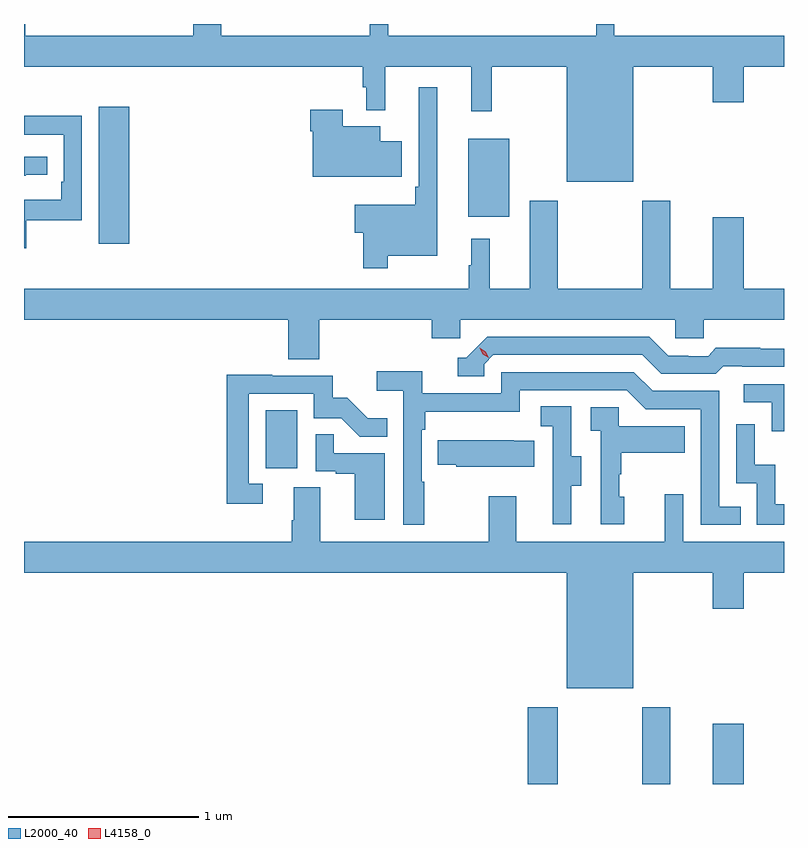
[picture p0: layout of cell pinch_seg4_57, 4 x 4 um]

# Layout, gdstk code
import gdstk
lib = gdstk.Library(unit=1e-6, precision=1e-09)
def R(c, l, rs):  # rectangles x0, y0, x1, y1
    for r in rs: c.add(gdstk.rectangle(r[:2], r[2:], *l))
def P(c, l, *ps):  # polygons
    for p in ps: c.add(gdstk.Polygon(p, *l))
L2000_40 = (2000, 40)
L4158_0 = (4158, 0)

pinch_seg4_57 = lib.new_cell('pinch_seg4_57')
R(pinch_seg4_57, L2000_40, [(1027.169,821.017,1027.329,821.422), (1027.774,821.017,1027.921,821.422), (1028.144,821.017,1028.308,821.335), (1025.792,822.678,1025.956,822.985), (1024.913,823.86,1025.074,824.581), (1026.857,824.003,1027.072,824.413)])
P(pinch_seg4_57, L2000_40, [(1027.726,824.792),(1028.144,824.792),(1028.144,824.604),(1028.308,824.604),(1028.308,824.792),(1028.519,824.792),(1028.519,824.956),(1027.626,824.956),(1027.626,825.017),(1027.53,825.017),(1027.53,824.956),(1026.435,824.956),(1026.435,825.017),(1026.338,825.017),(1026.338,824.956),(1025.557,824.956),(1025.557,825.017),(1025.41,825.017),(1025.41,824.956),(1024.525,824.956),(1024.525,825.017),(1024.519,825.017),(1024.519,824.792),(1026.301,824.792),(1026.301,824.685),(1026.321,824.685),(1026.321,824.564),(1026.419,824.564),(1026.419,824.792),(1026.872,824.792),(1026.872,824.559),(1026.982,824.559),(1026.982,824.792),(1027.376,824.792),(1027.376,824.186),(1027.726,824.186)],
  [(1026.433,823.796),(1026.694,823.796),(1026.694,824.683),(1026.597,824.683),(1026.597,824.161),(1026.577,824.161),(1026.577,824.065),(1026.26,824.065),(1026.26,823.918),(1026.304,823.918),(1026.304,823.731),(1026.433,823.731)],
  [(1026.508,824.401),(1026.394,824.401),(1026.394,824.479),(1026.196,824.479),(1026.196,824.566),(1026.026,824.566),(1026.026,824.453),(1026.038,824.453),(1026.038,824.213),(1026.508,824.213)],
  [(1024.531,823.983),(1024.824,823.983),(1024.824,824.534),(1024.519,824.534),(1024.519,824.433),(1024.728,824.433),(1024.728,824.188),(1024.715,824.188),(1024.715,824.092),(1024.519,824.092),(1024.519,823.836),(1024.531,823.836)],
  [(1024.529,824.223),(1024.642,824.223),(1024.642,824.319),(1024.519,824.319),(1024.519,824.218),(1024.529,824.218)],
  [(1026.074,823.46),(1026.665,823.46),(1026.665,823.362),(1026.816,823.362),(1026.816,823.46),(1027.947,823.46),(1027.947,823.362),(1028.097,823.362),(1028.097,823.46),(1028.519,823.46),(1028.519,823.624),(1028.308,823.624),(1028.308,823.999),(1028.144,823.999),(1028.144,823.624),(1027.921,823.624),(1027.921,824.086),(1027.774,824.086),(1027.774,823.624),(1027.329,823.624),(1027.329,824.086),(1027.181,824.086),(1027.181,823.624),(1026.971,823.624),(1026.971,823.888),(1026.872,823.888),(1026.872,823.748),(1026.861,823.748),(1026.861,823.624),(1024.519,823.624),(1024.519,823.46),(1025.909,823.46),(1025.909,823.252),(1026.074,823.252)],
  [(1026.942,823.227),(1026.99,823.275),(1027.773,823.275),(1027.872,823.176),(1028.161,823.176),(1028.2,823.215),(1028.299,823.215),(1028.299,823.212),(1028.519,823.212),(1028.519,823.309),(1028.394,823.309),(1028.394,823.312),(1028.161,823.312),(1028.119,823.269),(1028.016,823.269),(1028.016,823.272),(1027.909,823.272),(1027.81,823.371),(1026.957,823.371),(1026.846,823.26),(1026.803,823.26),(1026.803,823.164),(1026.942,823.164)],
  [(1026.625,822.608),(1026.612,822.608),(1026.612,822.881),(1026.632,822.881),(1026.632,822.977),(1027.128,822.977),(1027.128,823.089),(1027.692,823.089),(1027.791,822.99),(1028.082,822.99),(1028.082,822.381),(1028.291,822.381),(1028.291,822.477),(1028.178,822.477),(1028.178,823.086),(1027.828,823.086),(1027.729,823.185),(1027.032,823.185),(1027.032,823.074),(1026.614,823.074),(1026.614,823.19),(1026.375,823.19),(1026.375,823.088),(1026.516,823.088),(1026.516,822.381),(1026.625,822.381)],
  [(1025.776,822.597),(1025.703,822.597),(1025.703,823.071),(1026.045,823.071),(1026.045,822.942),(1026.189,822.942),(1026.287,822.844),(1026.431,822.844),(1026.431,822.943),(1026.327,822.943),(1026.22,823.05),(1026.144,823.05),(1026.144,823.167),(1025.825,823.167),(1025.825,823.172),(1025.587,823.172),(1025.587,822.492),(1025.776,822.492)],
  [(1028.519,823.122),(1028.307,823.122),(1028.307,823.026),(1028.454,823.026),(1028.454,822.873),(1028.519,822.873)],
  [(1027.399,822.586),(1027.453,822.586),(1027.453,822.741),(1027.398,822.741),(1027.398,823.004),(1027.239,823.004),(1027.239,822.901),(1027.302,822.901),(1027.302,822.597),(1027.301,822.597),(1027.301,822.384),(1027.399,822.384)],
  [(1027.678,822.528),(1027.653,822.528),(1027.653,822.647),(1027.663,822.647),(1027.663,822.761),(1027.997,822.761),(1027.997,822.901),(1027.65,822.901),(1027.65,822.999),(1027.503,822.999),(1027.503,822.875),(1027.554,822.875),(1027.554,822.384),(1027.678,822.384)],
  [(1028.519,822.49),(1028.474,822.49),(1028.474,822.698),(1028.364,822.698),(1028.364,822.91),(1028.268,822.91),(1028.268,822.6),(1028.376,822.6),(1028.376,822.381),(1028.519,822.381)],
  [(1026.418,822.759),(1026.149,822.759),(1026.149,822.857),(1026.054,822.857),(1026.054,822.663),(1026.161,822.663),(1026.161,822.651),(1026.26,822.651),(1026.26,822.408),(1026.418,822.408)],
  [(1027.205,822.823),(1027.097,822.823),(1027.097,822.826),(1026.697,822.826),(1026.697,822.697),(1026.795,822.697),(1026.795,822.686),(1027.205,822.686)],
  [(1026.964,822.532),(1026.964,822.292),(1026.079,822.292),(1026.079,822.578),(1025.939,822.578),(1025.939,822.404),(1025.927,822.404),(1025.927,822.292),(1024.519,822.292),(1024.519,822.128),(1027.376,822.128),(1027.376,821.522),(1027.726,821.522),(1027.726,822.128),(1028.144,822.128),(1028.144,821.94),(1028.308,821.94),(1028.308,822.128),(1028.519,822.128),(1028.519,822.292),(1027.989,822.292),(1027.989,822.541),(1027.892,822.541),(1027.892,822.292),(1027.111,822.292),(1027.111,822.532)])
P(pinch_seg4_57, L4158_0, [(1026.965,823.26),(1026.934,823.279),(1026.917,823.312),(1026.917,823.312),(1026.918,823.312),(1026.949,823.293),(1026.965,823.26),(1026.965,823.26)])

lib.write_gds('pinch_seg4_57.gds')
